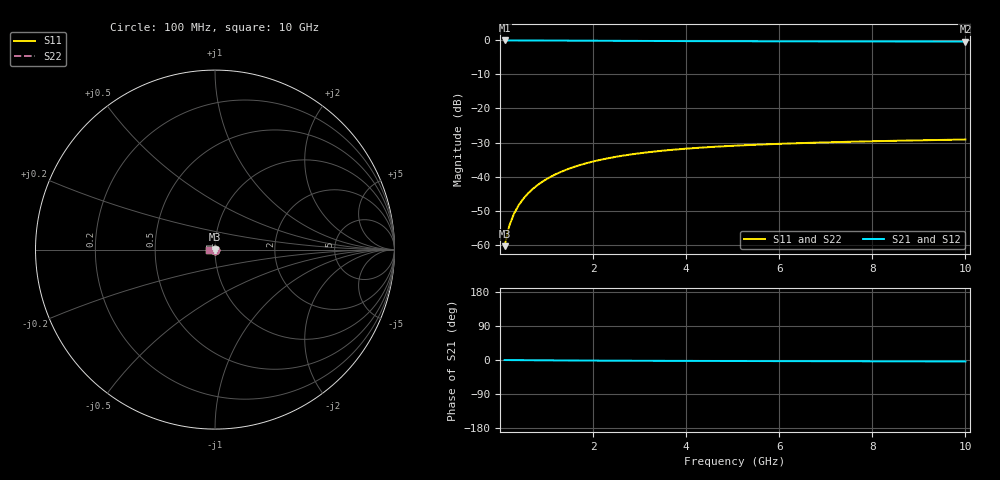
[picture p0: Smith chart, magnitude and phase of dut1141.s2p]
! Touchstone file exported from HFSS 2024.1.0
!  File:  C:/UserFiles/LocalFiles/RDL_TSV_Batchsim/temp_TSV1_1141_1780070951.aedt
!  Generated:  12:14:22 AM May 30, 2026
!  Design:  TSV1
!  Project:  temp_TSV1_1141_1780070951
!  Setup:  Setup1
!  Solution:  Sweep
! Variables:
!  dtsv = 10.52um
!  hbump = 3um
!  htsv = 57.94um
!  lrdl = 252.1521522um
!  p = 40
!  p1 = 48.56um
!  t = 500um
!  trdl = 3um
!  wrdl = 24.89489489um
# GHz S MA R 50.000000
! Terminal data exported
! Port[1] = TSV22_T1
! Port[2] = TSV22_T2
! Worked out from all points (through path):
!   100 points, 100 MHz to 10 GHz, reference 50 ohm
!   highest |S21| = 0.00 dB at 100 MHz (marker M1); lowest = -0.3 dB at 10 GHz (marker M2)
!   lowest |S11| = -60.5 dB at 100 MHz (marker M3), VSWR 1.00, Z = 50 - j0.0944 ohm
!   |S11| at or under -10 dB: start of sweep to end of sweep
!   |S22| runs from -60.5 to -29.1 dB; largest |S21 - S12| = 1.2e-14
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0.1  0.000947 -85.2  0.9999 -0.1  0.9999 -0.1  0.000947 -85.2
! Gamma 0 0 0 0
! Port Impedance 50 0 50 0
0.2  0.001887 -90.1  0.9998 -0.2  0.9998 -0.2  0.001887 -90.1
0.3  0.002828 -92.9  0.9996 -0.3  0.9996 -0.3  0.002828 -92.9
0.4  0.003767 -95.2  0.9994 -0.4  0.9994 -0.4  0.003767 -95.2
0.5  0.004698 -97.3  0.9991 -0.5  0.9991 -0.5  0.004698 -97.3
0.6  0.005618 -99.3  0.9988 -0.6  0.9988 -0.6  0.005618 -99.3
0.7  0.006526 -101.2  0.9984 -0.6  0.9984 -0.6  0.006526 -101.2
0.8  0.00742 -103.1  0.998 -0.7  0.998 -0.7  0.00742 -103.1
0.9  0.008297 -104.9  0.9975 -0.8  0.9975 -0.8  0.008297 -104.9
1.1  0.009998 -108.5  0.9965 -1.0  0.9965 -1.0  0.009998 -108.5
1.4  0.0124 -113.5  0.9947 -1.2  0.9947 -1.2  0.0124 -113.5
1.6  0.01389 -116.6  0.9934 -1.3  0.9934 -1.3  0.01389 -116.6
1.8  0.0153 -119.6  0.9921 -1.5  0.9921 -1.5  0.0153 -119.6
2.1  0.01724 -123.9  0.99 -1.6  0.99 -1.6  0.01724 -123.9
2.5  0.01953 -129.2  0.9873 -1.8  0.9873 -1.8  0.01953 -129.2
2.9  0.0215 -134.0  0.9847 -2.0  0.9847 -2.0  0.0215 -134.0
3.4  0.0236 -139.4  0.9817 -2.2  0.9817 -2.2  0.0236 -139.4
4.2  0.02625 -146.9  0.9776 -2.5  0.9776 -2.5  0.02625 -146.9
5.1  0.0285 -153.9  0.9738 -2.7  0.9738 -2.7  0.0285 -153.9
6.7  0.03133 -164.0  0.9691 -3.1  0.9691 -3.1  0.03133 -164.0
8.4  0.03343 -172.5  0.9658 -3.5  0.9658 -3.5  0.03343 -172.5
10  0.03497 -179.1  0.9636 -3.9  0.9636 -3.9  0.03497 -179.1
